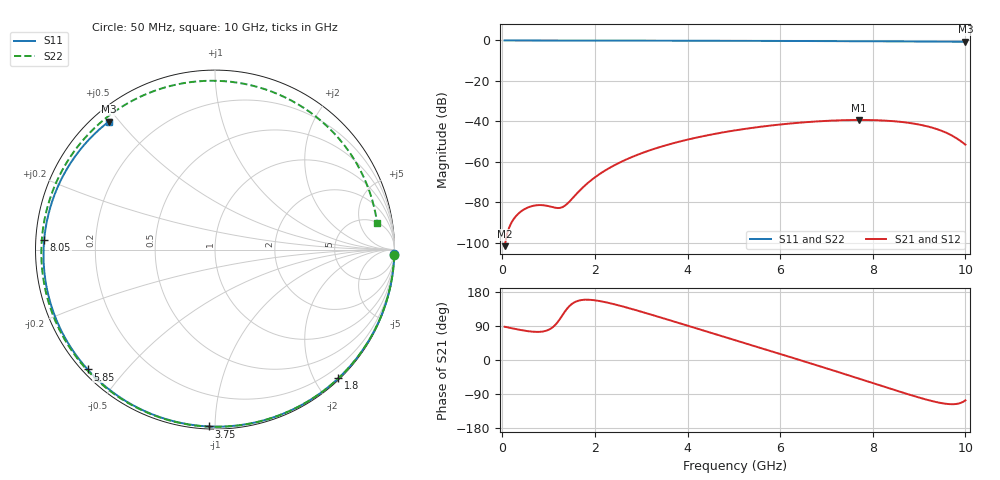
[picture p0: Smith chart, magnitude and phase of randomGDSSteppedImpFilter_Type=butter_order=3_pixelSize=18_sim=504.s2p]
! freq	dB(S11)	phase(S11)	dB(S12)	phase(S12)
!  dB(S21)	phase(S21)	dB(S22)	phase(S22)
!S-par simulation data
#  GHz  S  DB  R 50
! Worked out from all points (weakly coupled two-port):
!   200 points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, 50 MHz to 10 GHz, reference 50 ohm
!   highest |S21| = -39.30 dB at 7.7 GHz (marker M1); lowest = -101.7 dB at 50 MHz (marker M2)
!   lowest |S11| = -0.7 dB at 10 GHz (marker M3), VSWR 26.29, Z = 2.32 + j23.5 ohm
!   |S11| at or under -10 dB: nowhere
!   |S22| runs from -0.8 to 0.0 dB; largest |S21 - S12| = 0
!   S11 on the Smith chart (normalised r, x): 50 MHz: 1, -86; 1.8 GHz: 0.02, -2.35; 3.75 GHz: 0.01, -0.97; 5.85 GHz: 0.02, -0.40; 8.05 GHz: 0.02, +0.03; 10 GHz: 0.05, +0.47
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0.05  -0.00 -1.3  -101.67 87.8  -101.67 87.8  -0.00 -1.7
0.7  -0.02 -18.3  -81.58 74.3  -81.58 74.3  -0.03 -23.4
1.4  -0.05 -36.2  -80.76 135.6  -80.76 135.6  -0.06 -46.1
1.45  -0.05 -37.4  -79.63 142.4  -79.63 142.4  -0.06 -47.7
1.75  -0.06 -44.9  -72.42 158.8  -72.42 158.8  -0.07 -57.2
1.8  -0.06 -46.2  -71.37 159.1  -71.37 159.1  -0.07 -58.8
2.1  -0.07 -53.5  -66.05 155.7  -66.05 155.7  -0.08 -68.1
2.45  -0.08 -62.0  -61.33 146.1  -61.33 146.1  -0.10 -78.7
3.4  -0.11 -84.1  -52.71 113.0  -52.71 113.0  -0.13 -106.5
3.75  -0.12 -92.0  -50.44 100.0  -50.44 100.0  -0.15 -116.5
4.45  -0.15 -107.3  -46.78 73.9  -46.78 73.9  -0.18 -136.1
5.05  -0.18 -120.1  -44.36 51.5  -44.36 51.5  -0.22 -153.0
5.85  -0.23 -136.8  -41.91 21.6  -41.91 21.6  -0.28 -176.2
6.7  -0.29 -154.4  -40.15 -10.5  -40.15 -10.5  -0.35 157.2
7.2  -0.33 -164.9  -39.54 -29.6  -39.54 -29.6  -0.40 140.0
7.7  -0.38 -175.5  -39.30 -49.0  -39.30 -49.0  -0.45 121.2
8.05  -0.41 176.8  -39.41 -62.7  -39.41 -62.7  -0.49 106.9
8.35  -0.45 170.1  -39.74 -74.5  -39.74 -74.5  -0.52 93.8
8.75  -0.49 160.9  -40.64 -89.9  -40.64 -89.9  -0.57 75.2
9.15  -0.54 151.4  -42.30 -104.3  -42.30 -104.3  -0.62 55.1
9.6  -0.60 140.1  -45.74 -115.8  -45.74 -115.8  -0.69 31.3
10  -0.66 129.6  -51.49 -106.5  -51.49 -106.5  -0.77 9.3
